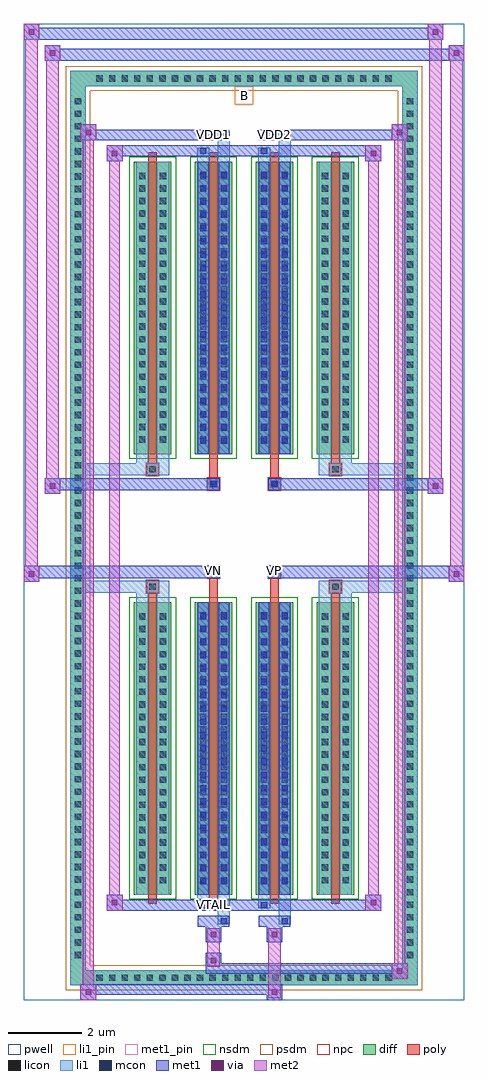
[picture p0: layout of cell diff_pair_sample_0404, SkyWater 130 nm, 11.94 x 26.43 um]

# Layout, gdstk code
import gdstk
lib = gdstk.Library(unit=1e-6, precision=5e-09)
def R(c, l, rs):  # rectangles x0, y0, x1, y1
    for r in rs: c.add(gdstk.rectangle(r[:2], r[2:], *l))
def A(c, l, x, y, w, h, nx, ny, dx, dy):  # array of equal rectangles
    R(c, l, [(x+i*dx, y+j*dy, x+i*dx+w, y+j*dy+h) for i in range(nx) for j in range(ny)])
def P(c, l, *ps):  # polygons
    for p in ps: c.add(gdstk.Polygon(p, *l))
pwell = (64, 44)
diff = (65, 20)
poly = (66, 20)
licon = (66, 44)
li1_pin = (67, 16)
li1 = (67, 20)
mcon = (67, 44)
met1_pin = (68, 16)
met1 = (68, 20)
via = (68, 44)
met2 = (69, 20)
nsdm = (93, 44)
psdm = (94, 20)
npc = (95, 20)

diff_pair_sample_0404 = lib.new_cell('diff_pair_sample_0404')
R(diff_pair_sample_0404, pwell, [(-5.97,-12.78,5.97,13.65), (-3.29,-10.97,-0.01,-0.825), (0.01,-10.97,3.29,-0.825), (-3.29,0.825,-0.01,10.97), (0.01,0.825,3.29,10.97)])
A(diff_pair_sample_0404, diff, -4.115, -12.38, 0.41, 0.41, 24, 2, 0.34, 24.35)
A(diff_pair_sample_0404, diff, -4.7, -11.765, 0.41, 0.41, 1, 69, 0, 0.34)
A(diff_pair_sample_0404, diff, 4.29, -11.765, 0.41, 0.41, 1, 69, 0, 0.34)
A(diff_pair_sample_0404, diff, -2.98, -9.925, 1.01, 7.92, 4, 2, 1.65, 11.93)
R(diff_pair_sample_0404, diff, [(-4.115,-12.38,4.115,-11.97), (-4.7,-11.765,-4.29,11.765), (4.29,-11.765,4.7,11.765), (-4.115,11.97,4.115,12.38)])
P(diff_pair_sample_0404, diff, [(4.7,12.38),(-4.7,12.38),(-4.7,-11.97),(-4.29,-11.97),(-4.29,11.97),(4.29,11.97),(4.29,-11.97),(-4.29,-11.97),(-4.7,-11.97),(-4.7,-12.38),(4.7,-12.38)])
A(diff_pair_sample_0404, poly, -2.59, -10.175, 0.23, 8.42, 4, 2, 1.65, 11.93)
R(diff_pair_sample_0404, poly, [(-2.64,-1.755,-2.31,-1.425), (-2.64,-1.755,-2.31,-1.425), (-0.94,-1.755,-0.71,-1.355), (0.71,-1.755,0.94,-1.355), (2.31,-1.755,2.64,-1.425), (2.31,-1.755,2.64,-1.425), (-0.99,-1.355,-0.66,-1.025), (-0.99,-1.355,-0.66,-1.025), (0.66,-1.355,0.99,-1.025), (0.66,-1.355,0.99,-1.025), (-0.99,1.025,-0.66,1.355), (-0.99,1.025,-0.66,1.355), (0.66,1.025,0.99,1.355), (0.66,1.025,0.99,1.355), (-0.94,1.355,-0.71,1.755), (0.71,1.355,0.94,1.755), (-2.64,1.425,-2.31,1.755), (-2.64,1.425,-2.31,1.755), (2.31,1.425,2.64,1.755), (2.31,1.425,2.64,1.755)])
A(diff_pair_sample_0404, licon, -3.995, -12.26, 0.17, 0.17, 24, 2, 0.34, 24.35)
A(diff_pair_sample_0404, licon, -4.58, -11.645, 0.17, 0.17, 1, 69, 0, 0.34)
A(diff_pair_sample_0404, licon, 4.41, -11.645, 0.17, 0.17, 1, 69, 0, 0.34)
A(diff_pair_sample_0404, licon, -2.84, -9.62, 0.17, 0.17, 1, 22, 0, 0.34)
A(diff_pair_sample_0404, licon, -2.28, -9.62, 0.17, 0.17, 1, 22, 0, 0.34)
A(diff_pair_sample_0404, licon, -1.19, -9.62, 0.17, 0.17, 1, 22, 0, 0.34)
A(diff_pair_sample_0404, licon, -0.63, -9.62, 0.17, 0.17, 1, 22, 0, 0.34)
A(diff_pair_sample_0404, licon, 0.46, -9.62, 0.17, 0.17, 1, 22, 0, 0.34)
A(diff_pair_sample_0404, licon, 1.02, -9.62, 0.17, 0.17, 1, 22, 0, 0.34)
A(diff_pair_sample_0404, licon, 2.11, -9.62, 0.17, 0.17, 1, 22, 0, 0.34)
A(diff_pair_sample_0404, licon, 2.67, -9.62, 0.17, 0.17, 1, 22, 0, 0.34)
A(diff_pair_sample_0404, licon, -2.84, 2.31, 0.17, 0.17, 1, 22, 0, 0.34)
A(diff_pair_sample_0404, licon, -2.28, 2.31, 0.17, 0.17, 1, 22, 0, 0.34)
A(diff_pair_sample_0404, licon, -1.19, 2.31, 0.17, 0.17, 1, 22, 0, 0.34)
A(diff_pair_sample_0404, licon, -0.63, 2.31, 0.17, 0.17, 1, 22, 0, 0.34)
A(diff_pair_sample_0404, licon, 0.46, 2.31, 0.17, 0.17, 1, 22, 0, 0.34)
A(diff_pair_sample_0404, licon, 1.02, 2.31, 0.17, 0.17, 1, 22, 0, 0.34)
A(diff_pair_sample_0404, licon, 2.11, 2.31, 0.17, 0.17, 1, 22, 0, 0.34)
A(diff_pair_sample_0404, licon, 2.67, 2.31, 0.17, 0.17, 1, 22, 0, 0.34)
R(diff_pair_sample_0404, licon, [(-2.56,-1.675,-2.39,-1.505), (2.39,-1.675,2.56,-1.505), (-0.91,-1.275,-0.74,-1.105), (0.74,-1.275,0.91,-1.105), (-0.91,1.105,-0.74,1.275), (0.74,1.105,0.91,1.275), (-2.56,1.505,-2.39,1.675), (2.39,1.505,2.56,1.675)])
R(diff_pair_sample_0404, li1_pin, [(-0.25,11.47,0.25,11.97)])
A(diff_pair_sample_0404, li1, -4.075, -12.34, 0.33, 0.33, 24, 2, 0.34, 24.35)
A(diff_pair_sample_0404, li1, -4.66, -11.725, 0.33, 0.33, 1, 69, 0, 0.34)
A(diff_pair_sample_0404, li1, 4.33, -11.725, 0.33, 0.33, 1, 69, 0, 0.34)
A(diff_pair_sample_0404, li1, -2.92, -9.7, 0.33, 0.33, 1, 22, 0, 0.34)
A(diff_pair_sample_0404, li1, -2.36, -9.7, 0.33, 0.33, 1, 22, 0, 0.34)
A(diff_pair_sample_0404, li1, -1.27, -9.7, 0.33, 0.33, 1, 22, 0, 0.34)
A(diff_pair_sample_0404, li1, -0.71, -9.7, 0.33, 0.33, 1, 22, 0, 0.34)
A(diff_pair_sample_0404, li1, 0.38, -9.7, 0.33, 0.33, 1, 22, 0, 0.34)
A(diff_pair_sample_0404, li1, 0.94, -9.7, 0.33, 0.33, 1, 22, 0, 0.34)
A(diff_pair_sample_0404, li1, 2.03, -9.7, 0.33, 0.33, 1, 22, 0, 0.34)
A(diff_pair_sample_0404, li1, 2.59, -9.7, 0.33, 0.33, 1, 22, 0, 0.34)
A(diff_pair_sample_0404, li1, -1.19, -9.65, 0.17, 0.17, 1, 21, 0, 0.36)
A(diff_pair_sample_0404, li1, -0.63, -9.65, 0.17, 0.17, 1, 21, 0, 0.36)
A(diff_pair_sample_0404, li1, 0.46, -9.65, 0.17, 0.17, 1, 21, 0, 0.36)
A(diff_pair_sample_0404, li1, 1.02, -9.65, 0.17, 0.17, 1, 21, 0, 0.36)
A(diff_pair_sample_0404, li1, -2.92, 2.23, 0.33, 0.33, 1, 22, 0, 0.34)
A(diff_pair_sample_0404, li1, -2.36, 2.23, 0.33, 0.33, 1, 22, 0, 0.34)
A(diff_pair_sample_0404, li1, -1.27, 2.23, 0.33, 0.33, 1, 22, 0, 0.34)
A(diff_pair_sample_0404, li1, -0.71, 2.23, 0.33, 0.33, 1, 22, 0, 0.34)
A(diff_pair_sample_0404, li1, 0.38, 2.23, 0.33, 0.33, 1, 22, 0, 0.34)
A(diff_pair_sample_0404, li1, 0.94, 2.23, 0.33, 0.33, 1, 22, 0, 0.34)
A(diff_pair_sample_0404, li1, 2.03, 2.23, 0.33, 0.33, 1, 22, 0, 0.34)
A(diff_pair_sample_0404, li1, 2.59, 2.23, 0.33, 0.33, 1, 22, 0, 0.34)
A(diff_pair_sample_0404, li1, -1.19, 2.28, 0.17, 0.17, 1, 21, 0, 0.36)
A(diff_pair_sample_0404, li1, -0.63, 2.28, 0.17, 0.17, 1, 21, 0, 0.36)
A(diff_pair_sample_0404, li1, 0.46, 2.28, 0.17, 0.17, 1, 21, 0, 0.36)
A(diff_pair_sample_0404, li1, 1.02, 2.28, 0.17, 0.17, 1, 21, 0, 0.36)
R(diff_pair_sample_0404, li1, [(-4.7,-12.38,-4.29,-11.97), (-4.7,-12.38,-4.29,-11.97), (-4.29,-12.38,4.29,-11.97), (4.29,-12.38,4.7,-11.97), (4.29,-12.38,4.7,-11.97), (-4.7,-11.97,-4.29,11.97), (4.29,-11.97,4.7,11.97), (-0.71,-10.73,-0.38,-9.925), (-0.63,-10.73,-0.46,-10.56), (0.94,-10.73,1.27,-9.925), (1.02,-10.73,1.19,-10.56), (-1.27,-10.3,-0.94,-9.925), (-1.19,-10.3,-1.02,-10.13), (0.38,-10.3,0.71,-9.925), (0.46,-10.3,0.63,-10.13), (-2.92,-9.925,-2.59,-2.005), (-2.36,-9.925,-2.03,-2.005), (-1.27,-9.925,-0.94,-2.005), (-0.71,-9.925,-0.38,-2.005), (0.38,-9.925,0.71,-2.005), (0.94,-9.925,1.27,-2.005), (2.03,-9.925,2.36,-2.005), (2.59,-9.925,2.92,-2.005), (-1.19,-9.65,-1.02,-2.28), (-0.63,-9.65,-0.46,-2.28), (0.46,-9.65,0.63,-2.28), (1.02,-9.65,1.19,-2.28), (-2.92,-2.005,-2.59,-1.425), (-2.36,-2.005,-2.03,-1.425), (2.03,-2.005,2.36,-1.425), (2.59,-2.005,2.92,-1.425), (-4.7,-1.755,-2.64,-1.425), (-2.92,-1.755,-2.64,-1.425), (-2.64,-1.755,-2.31,-1.425), (-2.31,-1.755,-2.03,-1.425), (2.03,-1.755,2.31,-1.425), (2.31,-1.755,2.64,-1.425), (2.31,-1.755,4.7,-1.425), (2.64,-1.755,2.92,-1.425), (-0.99,-1.355,-0.66,-1.025), (0.66,-1.355,0.99,-1.025), (-0.99,1.025,-0.66,1.355), (0.66,1.025,0.99,1.355), (-4.7,1.425,-2.64,1.755), (-2.92,1.425,-2.64,1.755), (-2.92,1.425,-2.59,2.005), (-2.64,1.425,-2.31,1.755), (-2.36,1.425,-2.03,2.005), (-2.31,1.425,-2.03,1.755), (2.03,1.425,2.31,1.755), (2.03,1.425,2.36,2.005), (2.31,1.425,2.64,1.755), (2.31,1.425,4.7,1.755), (2.59,1.425,2.92,2.005), (2.64,1.425,2.92,1.755), (-2.92,2.005,-2.59,9.925), (-2.36,2.005,-2.03,9.925), (-1.27,2.005,-0.94,9.925), (-0.71,2.005,-0.38,9.925), (0.38,2.005,0.71,9.925), (0.94,2.005,1.27,9.925), (2.03,2.005,2.36,9.925), (2.59,2.005,2.92,9.925), (-1.19,2.28,-1.02,9.65), (-0.63,2.28,-0.46,9.65), (0.46,2.28,0.63,9.65), (1.02,2.28,1.19,9.65), (-1.27,9.925,-0.94,10.3), (-0.71,9.925,-0.38,10.73), (0.38,9.925,0.71,10.3), (0.94,9.925,1.27,10.73), (-1.19,10.13,-1.02,10.3), (0.46,10.13,0.63,10.3), (-0.63,10.56,-0.46,10.73), (1.02,10.56,1.19,10.73), (-4.7,11.97,-4.29,12.38), (-4.7,11.97,-4.29,12.38), (-4.29,11.97,4.29,12.38), (4.29,11.97,4.7,12.38), (4.29,11.97,4.7,12.38)])
A(diff_pair_sample_0404, mcon, -1.19, -9.65, 0.17, 0.17, 1, 21, 0, 0.36)
A(diff_pair_sample_0404, mcon, -0.63, -9.65, 0.17, 0.17, 1, 21, 0, 0.36)
A(diff_pair_sample_0404, mcon, 0.46, -9.65, 0.17, 0.17, 1, 21, 0, 0.36)
A(diff_pair_sample_0404, mcon, 1.02, -9.65, 0.17, 0.17, 1, 21, 0, 0.36)
A(diff_pair_sample_0404, mcon, -1.19, 2.28, 0.17, 0.17, 1, 21, 0, 0.36)
A(diff_pair_sample_0404, mcon, -0.63, 2.28, 0.17, 0.17, 1, 21, 0, 0.36)
A(diff_pair_sample_0404, mcon, 0.46, 2.28, 0.17, 0.17, 1, 21, 0, 0.36)
A(diff_pair_sample_0404, mcon, 1.02, 2.28, 0.17, 0.17, 1, 21, 0, 0.36)
R(diff_pair_sample_0404, mcon, [(-0.63,-10.73,-0.46,-10.56), (1.02,-10.73,1.19,-10.56), (-1.19,-10.3,-1.02,-10.13), (0.46,-10.3,0.63,-10.13), (-0.91,-1.275,-0.74,-1.105), (0.74,-1.275,0.91,-1.105), (-0.91,1.105,-0.74,1.275), (0.74,1.105,0.91,1.275), (-1.19,10.13,-1.02,10.3), (0.46,10.13,0.63,10.3), (-0.63,10.56,-0.46,10.73), (1.02,10.56,1.19,10.73)])
R(diff_pair_sample_0404, met1_pin, [(-0.96,-10.34,-0.69,-10.07), (-0.96,-1.295,-0.69,-1.025), (0.69,-1.295,0.96,-1.025), (-0.96,10.52,-0.69,10.79), (0.69,10.52,0.96,10.79)])
A(diff_pair_sample_0404, met1, -1.25, -9.71, 0.29, 0.29, 1, 21, 0, 0.36)
A(diff_pair_sample_0404, met1, -0.69, -9.71, 0.29, 0.29, 1, 21, 0, 0.36)
A(diff_pair_sample_0404, met1, 0.4, -9.71, 0.29, 0.29, 1, 21, 0, 0.36)
A(diff_pair_sample_0404, met1, 0.96, -9.71, 0.29, 0.29, 1, 21, 0, 0.36)
A(diff_pair_sample_0404, met1, -1.25, 2.22, 0.29, 0.29, 1, 21, 0, 0.36)
A(diff_pair_sample_0404, met1, -0.69, 2.22, 0.29, 0.29, 1, 21, 0, 0.36)
A(diff_pair_sample_0404, met1, 0.4, 2.22, 0.29, 0.29, 1, 21, 0, 0.36)
A(diff_pair_sample_0404, met1, 0.96, 2.22, 0.29, 0.29, 1, 21, 0, 0.36)
R(diff_pair_sample_0404, met1, [(-4.43,-12.78,-4,-12.35), (0.61,-12.78,1.04,-12.35), (-4.43,-12.64,1.04,-12.35), (4,-12.21,4.43,-11.78), (-1.04,-12.07,4.43,-11.78), (-1.04,-11.93,-0.61,-11.5), (-1.04,-11.22,-0.61,-10.79), (0.61,-11.22,1.04,-10.79), (-1.25,-10.79,-0.4,-10.5), (-0.69,-10.79,-0.4,-10.5), (0.4,-10.79,1.25,-10.5), (0.96,-10.79,1.25,-10.5), (-3.72,-10.36,-3.29,-9.93), (-3.72,-10.36,-1.25,-10.07), (-1.25,-10.36,-0.96,-10.07), (-1.25,-10.36,-0.4,-10.07), (-0.4,-10.36,0.4,-10.07), (0.4,-10.36,0.69,-10.07), (0.4,-10.36,1.25,-10.07), (1.25,-10.36,3.72,-10.07), (3.29,-10.36,3.72,-9.93), (-1.25,-9.925,-0.96,-2.005), (-0.69,-9.925,-0.4,-2.005), (0.4,-9.925,0.69,-2.005), (0.96,-9.925,1.25,-2.005), (-5.97,-1.455,-5.54,-1.025), (5.54,-1.455,5.97,-1.025), (-5.97,-1.355,-0.66,-1.025), (-0.99,-1.355,-0.66,-1.025), (0.66,-1.355,0.99,-1.025), (0.66,-1.355,5.97,-1.025), (-0.97,-1.335,-0.68,-1.045), (0.68,-1.335,0.97,-1.045), (-5.4,0.925,-4.97,1.355), (4.97,0.925,5.4,1.355), (-5.4,1.025,-0.99,1.355), (-0.99,1.025,-0.66,1.355), (0.66,1.025,0.99,1.355), (0.99,1.025,5.4,1.355), (-0.97,1.045,-0.68,1.335), (0.68,1.045,0.97,1.335), (-1.25,2.005,-0.96,9.925), (-0.69,2.005,-0.4,9.925), (0.4,2.005,0.69,9.925), (0.96,2.005,1.25,9.925), (-3.72,9.93,-3.29,10.36), (3.29,9.93,3.72,10.36), (-3.72,10.07,-1.25,10.36), (-1.25,10.07,-0.96,10.36), (-1.25,10.07,-0.4,10.36), (-0.4,10.07,0.4,10.36), (0.4,10.07,0.69,10.36), (0.4,10.07,1.25,10.36), (1.25,10.07,3.72,10.36), (-4.43,10.5,-4,10.93), (-4.43,10.5,-1.25,10.79), (-1.25,10.5,-0.4,10.79), (-0.69,10.5,-0.4,10.79), (0.4,10.5,1.25,10.79), (0.96,10.5,1.25,10.79), (1.25,10.5,4.43,10.79), (4,10.5,4.43,10.93), (-5.4,12.65,-4.97,13.08), (-5.4,12.65,-3.29,12.98), (-3.29,12.65,3.29,12.98), (3.29,12.65,5.97,12.98), (5.54,12.65,5.97,13.08), (-5.97,13.22,-5.54,13.65), (-5.97,13.22,-3.29,13.55), (-3.29,13.22,3.29,13.55), (3.29,13.22,5.4,13.55), (4.97,13.22,5.4,13.65)])
R(diff_pair_sample_0404, via, [(-4.29,-12.64,-4.14,-12.49), (0.75,-12.64,0.9,-12.49), (4.14,-12.07,4.29,-11.92), (-0.9,-11.79,-0.75,-11.64), (-0.9,-11.08,-0.75,-10.93), (0.75,-11.08,0.9,-10.93), (-3.58,-10.22,-3.43,-10.07), (3.43,-10.22,3.58,-10.07), (-5.83,-1.315,-5.68,-1.165), (5.68,-1.315,5.83,-1.165), (-5.26,1.065,-5.11,1.215), (5.11,1.065,5.26,1.215), (-3.58,10.07,-3.43,10.22), (3.43,10.07,3.58,10.22), (-4.29,10.64,-4.14,10.79), (4.14,10.64,4.29,10.79), (-5.26,12.79,-5.11,12.94), (5.68,12.79,5.83,12.94), (-5.83,13.36,-5.68,13.51), (5.11,13.36,5.26,13.51)])
R(diff_pair_sample_0404, met2, [(-4.43,-12.78,-4,-12.35), (-4.36,-12.78,-4.07,10.93), (-4.07,-12.78,-4,-12.35), (-4.38,-12.73,-4.05,-12.4), (0.66,-12.73,0.99,-12.4), (0.66,-12.4,0.99,-11.17), (4,-12.21,4.43,-11.78), (4.07,-12.21,4.36,10.93), (4.36,-12.21,4.43,-11.78), (4.05,-12.16,4.38,-11.83), (-0.99,-11.88,-0.66,-11.55), (-0.99,-11.55,-0.66,-11.17), (-0.99,-11.17,-0.66,-10.84), (0.66,-11.17,0.99,-10.84), (-3.72,-10.36,-3.29,-9.93), (-3.65,-10.36,-3.36,10.36), (-3.36,-10.36,-3.29,-9.93), (3.29,-10.36,3.72,-9.93), (3.36,-10.36,3.65,10.36), (3.65,-10.36,3.72,-9.93), (-3.67,-10.31,-3.34,-9.98), (3.34,-10.31,3.67,-9.98), (-5.97,-1.455,-5.54,-1.025), (-5.92,-1.455,-5.59,13.65), (-5.59,-1.455,-5.54,-1.025), (5.54,-1.455,5.97,-1.025), (5.59,-1.455,5.92,13.08), (5.92,-1.455,5.97,-1.025), (-5.92,-1.405,-5.59,-1.075), (5.59,-1.405,5.92,-1.075), (-5.4,0.925,-4.97,1.355), (-5.35,0.925,-5.02,13.08), (-5.02,0.925,-4.97,1.355), (4.97,0.925,5.4,1.355), (5.02,0.925,5.35,13.65), (5.35,0.925,5.4,1.355), (-5.35,0.975,-5.02,1.305), (5.02,0.975,5.35,1.305), (-3.72,9.93,-3.29,10.36), (-3.36,9.93,-3.29,10.36), (3.29,9.93,3.72,10.36), (3.65,9.93,3.72,10.36), (-3.67,9.98,-3.34,10.31), (3.34,9.98,3.67,10.31), (-4.43,10.5,-4,10.93), (-4.07,10.5,-4,10.93), (4,10.5,4.43,10.93), (4.36,10.5,4.43,10.93), (-4.38,10.55,-4.05,10.88), (4.05,10.55,4.38,10.88), (-5.4,12.65,-4.97,13.08), (-5.02,12.65,-4.97,13.08), (5.54,12.65,5.97,13.08), (5.92,12.65,5.97,13.08), (-5.35,12.7,-5.02,13.03), (5.59,12.7,5.92,13.03), (-5.97,13.22,-5.54,13.65), (-5.59,13.22,-5.54,13.65), (4.97,13.22,5.4,13.65), (5.35,13.22,5.4,13.65), (-5.92,13.27,-5.59,13.6), (5.02,13.27,5.35,13.6)])
A(diff_pair_sample_0404, nsdm, -3.11, -10.055, 1.27, 8.18, 4, 2, 1.65, 11.93)
P(diff_pair_sample_0404, psdm, [(4.83,12.51),(-4.83,12.51),(-4.83,-11.84),(-4.16,-11.84),(-4.16,11.84),(4.16,11.84),(4.16,-11.84),(-4.16,-11.84),(-4.83,-11.84),(-4.83,-12.51),(4.83,-12.51)])
R(diff_pair_sample_0404, npc, [(-2.66,-1.775,-2.29,-1.405), (2.29,-1.775,2.66,-1.405), (-1.01,-1.375,-0.64,-1.005), (0.64,-1.375,1.01,-1.005), (-1.01,1.005,-0.64,1.375), (0.64,1.005,1.01,1.375), (-2.66,1.405,-2.29,1.775), (2.29,1.405,2.66,1.775)])
diff_pair_sample_0404.add(gdstk.Label('VTAIL', (-0.825,-10.205), layer=68, texttype=5))
diff_pair_sample_0404.add(gdstk.Label('VN', (-0.825,-1.16), layer=68, texttype=5))
diff_pair_sample_0404.add(gdstk.Label('VP', (0.825,-1.16), layer=68, texttype=5))
diff_pair_sample_0404.add(gdstk.Label('B', (0,11.72), layer=67, texttype=5))
diff_pair_sample_0404.add(gdstk.Label('VDD2', (0.825,10.655), layer=68, texttype=5))
diff_pair_sample_0404.add(gdstk.Label('VDD1', (-0.825,10.655), layer=68, texttype=5))

lib.write_gds('diff_pair_sample_0404.gds')
